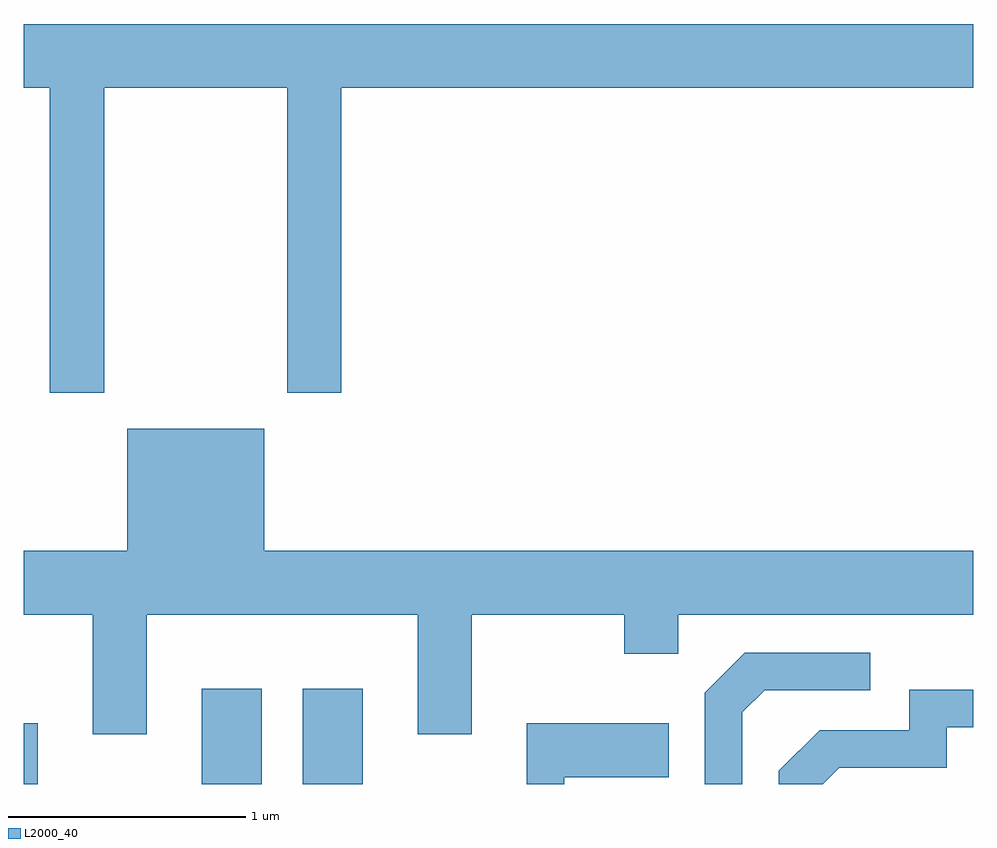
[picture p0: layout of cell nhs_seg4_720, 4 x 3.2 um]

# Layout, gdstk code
import gdstk
lib = gdstk.Library(unit=1e-6, precision=1e-09)
def R(c, l, rs):  # rectangles x0, y0, x1, y1
    for r in rs: c.add(gdstk.rectangle(r[:2], r[2:], *l))
def P(c, l, *ps):  # polygons
    for p in ps: c.add(gdstk.Polygon(p, *l))
L2000_40 = (2000, 40)

nhs_seg4_720 = lib.new_cell('nhs_seg4_720')
R(nhs_seg4_720, L2000_40, [(205.611,1333.982,205.669,1334.239), (206.361,1333.982,206.614,1334.384), (206.786,1333.982,207.039,1334.384)])
P(nhs_seg4_720, L2000_40, [(205.949,1336.916),(206.721,1336.916),(206.721,1335.631),(206.949,1335.631),(206.949,1336.916),(209.611,1336.916),(209.611,1337.184),(205.611,1337.184),(205.611,1336.916),(205.721,1336.916),(205.721,1335.631),(205.949,1335.631)],
  [(206.129,1334.696),(207.271,1334.696),(207.271,1334.191),(207.499,1334.191),(207.499,1334.696),(208.141,1334.696),(208.141,1334.531),(208.369,1334.531),(208.369,1334.696),(209.611,1334.696),(209.611,1334.964),(206.624,1334.964),(206.624,1335.479),(206.046,1335.479),(206.046,1334.964),(205.611,1334.964),(205.611,1334.696),(205.901,1334.696),(205.901,1334.191),(206.129,1334.191)],
  [(208.639,1334.284),(208.732,1334.376),(209.178,1334.376),(209.178,1334.534),(208.649,1334.534),(208.481,1334.367),(208.481,1333.982),(208.639,1333.982)],
  [(209.047,1334.051),(209.499,1334.051),(209.499,1334.221),(209.611,1334.221),(209.611,1334.379),(209.341,1334.379),(209.341,1334.209),(208.964,1334.209),(208.791,1334.037),(208.791,1333.982),(208.977,1333.982)],
  [(207.889,1334.011),(208.329,1334.011),(208.329,1334.239),(207.731,1334.239),(207.731,1333.982),(207.889,1333.982)])

lib.write_gds('nhs_seg4_720.gds')
